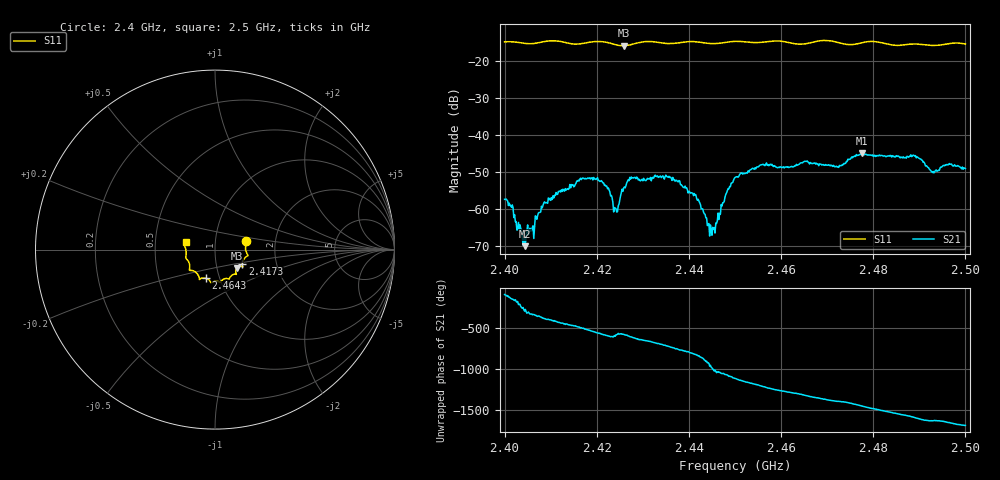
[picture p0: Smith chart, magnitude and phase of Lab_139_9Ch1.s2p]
# Hz S RI R 50
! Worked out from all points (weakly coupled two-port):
!   601 points, 2.4 GHz to 2.5 GHz, reference 50 ohm
!   highest |S21| = -44.93 dB at 2.4775 GHz (marker M1); lowest = -70.1 dB at 2.4045 GHz (marker M2)
!   lowest |S11| = -15.9 dB at 2.4258 GHz (marker M3), VSWR 1.38, Z = 62.3 - j13.2 ohm
!   |S11| at or under -10 dB: start of sweep to end of sweep
!   S12 and S22 are empty: the file has one direction only
!   S11 on the Smith chart (normalised r, x): 2.4 GHz: 1.41, +0.15; 2.4173 GHz: 1.34, -0.23; 2.4643 GHz: 0.86, -0.28; 2.5 GHz: 0.72, +0.06
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2.4e9  0.1733 0.0499  5.39e-05 -0.00134  0 0  0 0
2.4045e9  0.1705 0.0193  -3.18e-06 0.000312  0 0  0 0
2.4085e9  0.18 -0.0251  0.00113 -0.000409  0 0  0 0
2.416667e9  0.1531 -0.0748  -0.0017 -0.0018  0 0  0 0
2.417333e9  0.1524 -0.0823  -0.00221 -0.00125  0 0  0 0
2.4215e9  0.1533 -0.0951  -0.00169 0.00145  0 0  0 0
2.424167e9  0.1347 -0.0947  -0.000776 0.000639  0 0  0 0
2.425833e9  0.1215 -0.1036  -0.00156 0.0011  0 0  0 0
2.427667e9  0.1153 -0.1207  -0.000871 0.00245  0 0  0 0
2.433333e9  0.1127 -0.1367  0.0022 0.0015  0 0  0 0
2.441e9  0.0781 -0.1645  -6.65e-05 -0.0015  0 0  0 0
2.445e9  0.0554 -0.1617  -4.15e-05 0.000437  0 0  0 0
2.45e9  0.0297 -0.1808  0.00222 -0.00144  0 0  0 0
2.455667e9  -0.004 -0.1777  -0.00227 -0.0032  0 0  0 0
2.464333e9  -0.0502 -0.1603  -0.00287 0.00305  0 0  0 0
2.466667e9  -0.0761 -0.1599  -0.000838 0.00402  0 0  0 0
2.472667e9  -0.0895 -0.1501  0.0027 0.00275  0 0  0 0
2.4775e9  -0.1314 -0.1161  0.00557 -0.00106  0 0  0 0
2.483333e9  -0.1408 -0.0894  0.00068 -0.00515  0 0  0 0
2.489167e9  -0.1625 -0.0453  -0.00475 -0.0022  0 0  0 0
2.492833e9  -0.1604 -0.0158  -0.00304 0.000548  0 0  0 0
2.5e9  -0.1635 0.0423  -0.00138 0.00321  0 0  0 0
